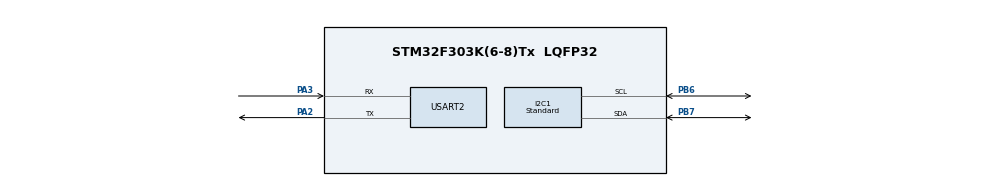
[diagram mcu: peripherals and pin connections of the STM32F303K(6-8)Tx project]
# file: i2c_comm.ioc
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I2C1.I2C_Speed_Mode=I2C_Standard
I2C1.OwnAddress=1
Mcu.Family=STM32F3
Mcu.Name=STM32F303K(6-8)Tx
Mcu.Package=LQFP32
NVIC.I2C1_EV_IRQn=true\:0\:0\:false\:false\:true\:true\:true\:true
NVIC.PriorityGroup=NVIC_PRIORITYGROUP_4
PA2.Mode=Asynchronous
PA2.Signal=USART2_TX
PA3.Mode=Asynchronous
PA3.Signal=USART2_RX
PB6.Mode=I2C
PB6.Signal=I2C1_SCL
PB7.Mode=I2C
PB7.Signal=I2C1_SDA
ProjectManager.HeapSize=0x200
ProjectManager.StackSize=0x400
ProjectManager.TargetToolchain=STM32CubeIDE
RCC.AHBFreq_Value=8000000
RCC.APB1Freq_Value=8000000
RCC.APB2Freq_Value=8000000
RCC.CortexFreq_Value=8000000
RCC.HSE_VALUE=8000000
RCC.HSI_VALUE=8000000
RCC.SYSCLKFreq_VALUE=8000000
USART2.VirtualMode-Asynchronous=VM_ASYNC
board=custom

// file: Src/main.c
/* USER CODE BEGIN Header */
/**
  ******************************************************************************
  * @file           : main.c
  * @brief          : Main program body
  ******************************************************************************
  * @attention
  *
  * <h2><center>&copy; Copyright (c) 2019 STMicroelectronics.
  * All rights reserved.</center></h2>
  *
  * This software component is licensed by ST under BSD 3-Clause license,
  * the "License"; You may not use this file except in compliance with the
  * License. You may obtain a copy of the License at:
  *                        opensource.org/licenses/BSD-3-Clause
  *
  ******************************************************************************
  */
/* USER CODE END Header */

#include "main.h"
#include "i2c.h"
#include "usart.h"
#include "gpio.h"

/* USER CODE BEGIN Includes */
#include <stdio.h>
#include "hts221.h"
#include "lps25hb.h"
/* USER CODE END Includes */

void SystemClock_Config(void);

int main(void)
{
  /* USER CODE BEGIN 1 */
  float temperature, humidity, pressure, altitude;
  float pressure_ref = 0.0f;
  char tx_buffer[64];
  /* USER CODE END 1 */

  /* MCU Configuration--------------------------------------------------------*/

  /* Reset of all peripherals, Initializes the Flash interface and the Systick. */

  LL_APB2_GRP1_EnableClock(LL_APB2_GRP1_PERIPH_SYSCFG);
  LL_APB1_GRP1_EnableClock(LL_APB1_GRP1_PERIPH_PWR);

  NVIC_SetPriorityGrouping(NVIC_PRIORITYGROUP_4);

  /* System interrupt init*/

  /* Configure the system clock */
  SystemClock_Config();

  /* Initialize all configured peripherals */
  MX_GPIO_Init();
  MX_I2C1_Init();
  MX_USART2_UART_Init();
  /* USER CODE BEGIN 2 */
  LL_I2C_Enable(I2C1);

  hts221_register_callbacks(i2c_master_read, i2c_master_write);
  lps25hb_register_callbacks(i2c_master_read, i2c_master_write);

  if(hts221_init() == 0 || lps25hb_init() == 0)
  {
     Error_Handler();
  }

  LL_mDelay(200);
  for(uint8_t i = 0; i < 8; i++)
  {
     pressure_ref += lps25hb_get_pressure();
 	 LL_mDelay(100);
  }
  pressure_ref /= 8.0f;
  /* USER CODE END 2 */

  /* Infinite loop */
  while (1)
  {

    /* USER CODE BEGIN 3 */
    temperature = hts221_get_temperature();
    humidity = hts221_get_humidity();
    pressure = lps25hb_get_pressure();
    altitude = lps25hb_calc_altitude(pressure, pressure_ref);
    snprintf(tx_buffer, sizeof(tx_buffer), "%.1f,%.0f,%.2f,%.2f\r\n", temperature, humidity, pressure, altitude);
    usart_send_string(tx_buffer);

    LL_GPIO_TogglePin(GPIOB, LL_GPIO_PIN_3);
    LL_mDelay(100);
  }
  /* USER CODE END 3 */
}

void SystemClock_Config(void)
{
  LL_FLASH_SetLatency(LL_FLASH_LATENCY_0);

  if(LL_FLASH_GetLatency() != LL_FLASH_LATENCY_0)
  {
  Error_Handler();
  }
  LL_RCC_HSI_Enable();

   /* Wait till HSI is ready */
  while(LL_RCC_HSI_IsReady() != 1)
  {

  }
  LL_RCC_HSI_SetCalibTrimming(16);
  LL_RCC_SetAHBPrescaler(LL_RCC_SYSCLK_DIV_1);
  LL_RCC_SetAPB1Prescaler(LL_RCC_APB1_DIV_1);
  LL_RCC_SetAPB2Prescaler(LL_RCC_APB1_DIV_1);
  LL_RCC_SetSysClkSource(LL_RCC_SYS_CLKSOURCE_HSI);

   /* Wait till System clock is ready */
  while(LL_RCC_GetSysClkSource() != LL_RCC_SYS_CLKSOURCE_STATUS_HSI)
  {

  }
  LL_Init1msTick(8000000);
  LL_SYSTICK_SetClkSource(LL_SYSTICK_CLKSOURCE_HCLK);
  LL_SetSystemCoreClock(8000000);
  LL_RCC_SetI2CClockSource(LL_RCC_I2C1_CLKSOURCE_HSI);
}

void Error_Handler(void)
{
  /* USER CODE BEGIN Error_Handler_Debug */
  /* User can add his own implementation to report the HAL error return state */
  while(1)
  {
	  LL_GPIO_TogglePin(GPIOB, LL_GPIO_PIN_3);
	  LL_mDelay(100);
  }

  /* USER CODE END Error_Handler_Debug */
}

/************************ (C) COPYRIGHT STMicroelectronics *****END OF FILE****/
